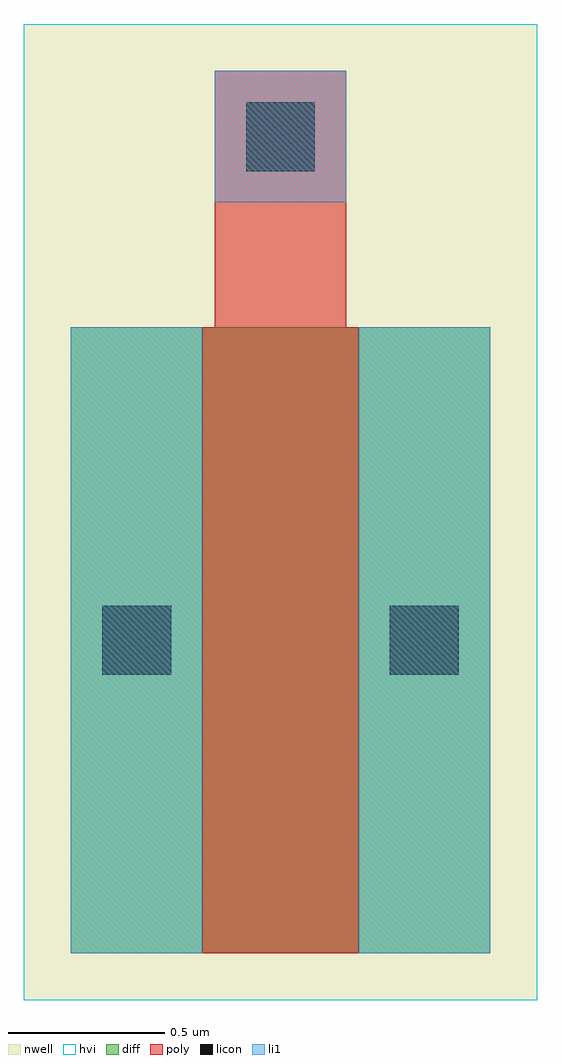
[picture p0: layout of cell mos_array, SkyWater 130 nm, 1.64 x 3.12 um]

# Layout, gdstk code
import gdstk
lib = gdstk.Library(unit=1e-6, precision=1e-09)
def R(c, l, rs):  # rectangles x0, y0, x1, y1
    for r in rs: c.add(gdstk.rectangle(r[:2], r[2:], *l))
nwell = (64, 20)
diff = (65, 20)
poly = (66, 20)
licon = (66, 44)
li1 = (67, 20)
hvi = (75, 20)

mos_array = lib.new_cell('mos_array')
R(mos_array, nwell, [(-0.15,-0.15,1.49,2.97)])
R(mos_array, diff, [(0,0,1.34,2)])
R(mos_array, poly, [(0.42,0,0.92,2), (0.46,2,0.88,2.82)])
R(mos_array, licon, [(0.1,0.89,0.32,1.11), (1.02,0.89,1.24,1.11), (0.56,2.5,0.78,2.72)])
R(mos_array, li1, [(0,0,0.42,2), (0.92,0,1.34,2), (0.46,2.4,0.88,2.82)])
R(mos_array, hvi, [(-0.15,-0.15,1.49,2.97)])

lib.write_gds('mos_array.gds')
